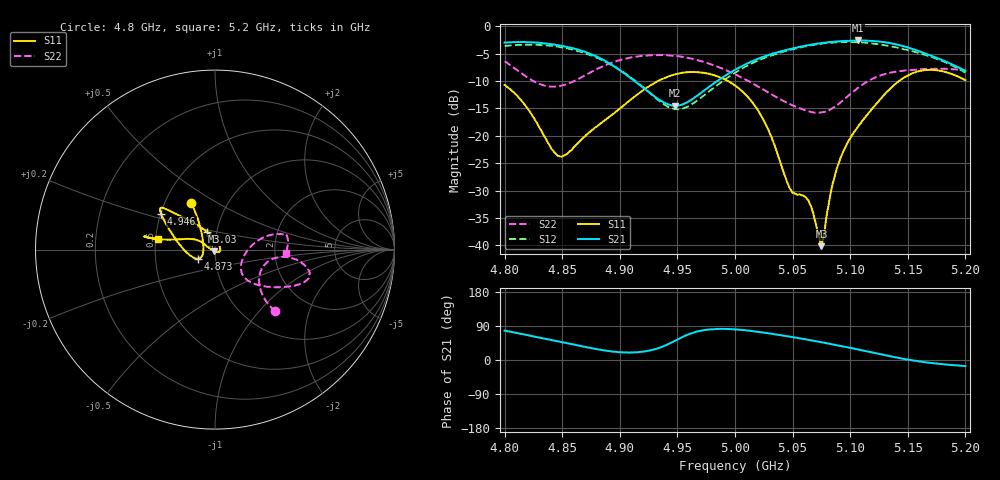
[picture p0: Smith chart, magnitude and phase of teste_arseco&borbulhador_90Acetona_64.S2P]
! Network Analyzer HP8722D
! Hewlett-Packard
! Data name: Linha & Wilkinson
! Saver's name: Rodrigo Anjos
! Comments: Teste da utilização de aquisição
! continua pelo VNA HP8722D
! Time and date: 17/4/2025 11:35
!  Frequency  S11  S21  S12  S22
# HZ  S  MA R 50
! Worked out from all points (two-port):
!   401 points, 4.8 GHz to 5.2 GHz, reference 50 ohm
!   highest |S21| = -2.58 dB at 5.107 GHz (marker M1); lowest = -14.5 dB at 4.948 GHz (marker M2)
!   |S21| within 3 dB of the highest: start of sweep to 4.881 GHz; 5.024 GHz to 5.173 GHz (148.4 MHz wide, 2.91 % of centre)
!   lowest |S11| = -40.2 dB at 5.075 GHz (marker M3), VSWR 1.02, Z = 49.5 - j0.861 ohm
!   |S11| at or under -10 dB: start of sweep to 4.933 GHz; 4.994 GHz to 5.142 GHz (148.5 MHz wide, 2.93 % of centre)
!   |S22| runs from -15.8 to -5.2 dB; largest |S21 - S12| = 1
!   S11 on the Smith chart (normalised r, x): 4.8 GHz: 0.68, +0.38; 4.873 GHz: 0.83, -0.08; 4.946 GHz: 0.50, +0.23; 5.03 GHz: 0.90, +0.18; 5.2 GHz: 0.51, +0.07
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4.8e9  0.2911 117.1  0.7097 77.5  0.6616 -16.1  0.4789 -45.8
4.818e9  0.1889 119.7  0.7156 66.7  0.6787 -24.0  0.3512 -42.6
4.845e9  0.0676 164.0  0.676 50.1  0.6537 -36.9  0.2821 -21.4
4.867e9  0.09356 -150.4  0.5978 36.3  0.5803 -48.2  0.3437 -7.6
4.873e9  0.1063 -151.5  0.5673 32.8  0.5509 -51.2  0.3712 -6.4
4.901e9  0.1814 177.4  0.3922 20.5  0.3929 -62.7  0.494 -9.1
4.934e9  0.3201 151.0  0.2138 31.6  0.2095 -55.9  0.5459 -15.7
4.946e9  0.3596 146.6  0.1889 47.7  0.177 -39.5  0.5399 -18.3
4.948e9  0.3645 145.9  0.1881 50.8  0.1751 -36.3  0.5367 -18.8
4.975e9  0.3727 141.4  0.268 79.6  0.2426 -2.5  0.4647 -26.3
5e9  0.2888 137.1  0.4009 80.7  0.377 3.3  0.3643 -34.6
5.017e9  0.1898 128.4  0.4911 75.5  0.4703 0.2  0.2944 -40.8
5.03e9  0.1068 113.6  0.5511 70.0  0.5344 -4.0  0.2445 -43.4
5.048e9  0.03265 46.0  0.6211 61.3  0.6105 -11.0  0.1939 -40.6
5.062e9  0.027 -25.0  0.6681 54.3  0.6601 -17.7  0.1696 -31.2
5.067e9  0.021 -42.4  0.6837 51.4  0.6743 -20.2  0.1642 -26.3
5.075e9  0.009823 -117.8  0.703 46.8  0.6937 -24.8  0.1637 -15.9
5.089e9  0.05264 155.4  0.728 38.6  0.7144 -33.3  0.1921 2.7
5.107e9  0.1223 152.6  0.7429 27.7  0.7141 -45.0  0.2757 14.0
5.134e9  0.265 167.8  0.7043 10.5  0.6599 -61.3  0.3755 13.2
5.164e9  0.3971 169.7  0.5713 -5.5  0.5511 -74.8  0.4077 11.1
5.2e9  0.323 169.5  0.3907 -16.0  0.3789 -84.5  0.3954 -2.6
